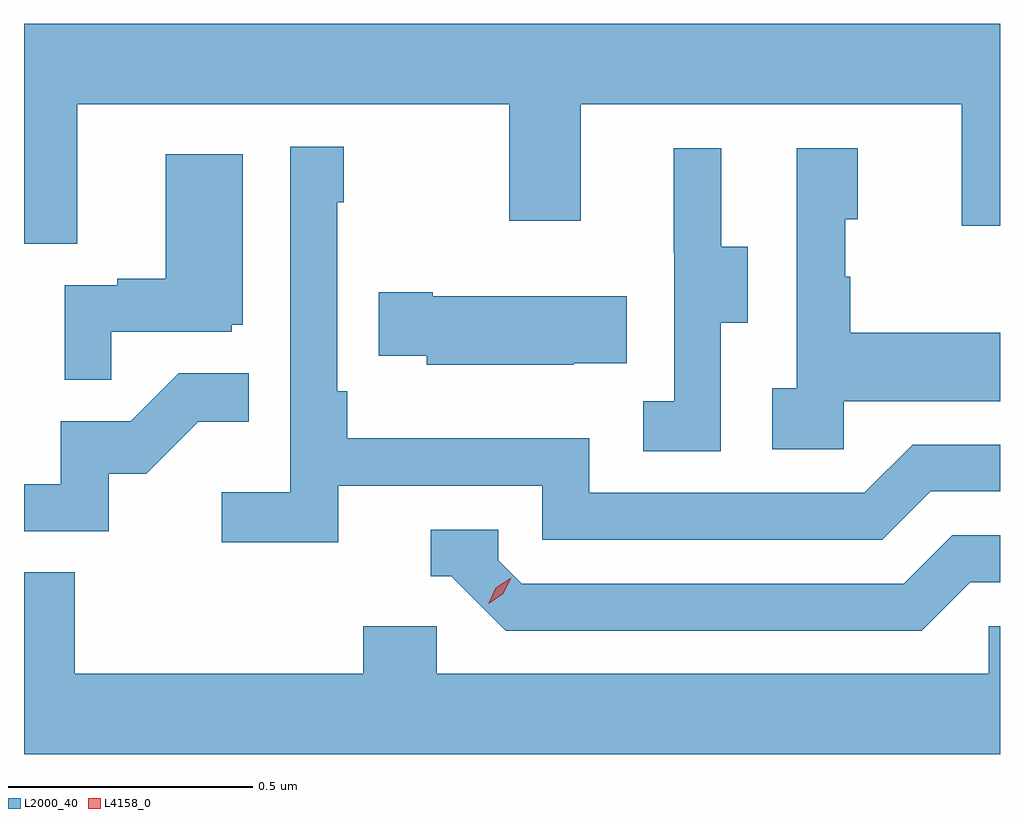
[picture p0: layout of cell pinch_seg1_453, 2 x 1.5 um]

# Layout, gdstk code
import gdstk
lib = gdstk.Library(unit=1e-6, precision=1e-09)
def P(c, l, *ps):  # polygons
    for p in ps: c.add(gdstk.Polygon(p, *l))
L2000_40 = (2000, 40)
L4158_0 = (4158, 0)

pinch_seg1_453 = lib.new_cell('pinch_seg1_453')
P(pinch_seg1_453, L2000_40, [(987.673,521.096),(988.558,521.096),(988.558,520.857),(988.705,520.857),(988.705,521.096),(989.486,521.096),(989.486,520.847),(989.564,520.847),(989.564,521.26),(987.564,521.26),(987.564,520.81),(987.673,520.81)],
  [(988.208,520.314),(988.626,520.314),(988.626,520.203),(989.323,520.203),(989.422,520.302),(989.564,520.302),(989.564,520.398),(989.385,520.398),(989.286,520.299),(988.722,520.299),(988.722,520.411),(988.226,520.411),(988.226,520.507),(988.206,520.507),(988.206,520.895),(988.219,520.895),(988.219,521.008),(988.11,521.008),(988.11,520.3),(987.969,520.3),(987.969,520.198),(988.208,520.198)],
  [(989.244,520.487),(989.564,520.487),(989.564,520.627),(989.257,520.627),(989.257,520.742),(989.247,520.742),(989.247,520.86),(989.272,520.86),(989.272,521.005),(989.148,521.005),(989.148,520.514),(989.097,520.514),(989.097,520.389),(989.244,520.389)],
  [(988.992,520.648),(989.047,520.648),(989.047,520.803),(988.993,520.803),(988.993,521.005),(988.895,521.005),(988.895,520.791),(988.896,520.791),(988.896,520.487),(988.833,520.487),(988.833,520.384),(988.992,520.384)],
  [(987.743,520.629),(987.99,520.629),(987.99,520.644),(988.012,520.644),(988.012,520.993),(987.854,520.993),(987.854,520.738),(987.755,520.738),(987.755,520.725),(987.648,520.725),(987.648,520.531),(987.743,520.531)],
  [(988.691,520.565),(988.799,520.565),(988.799,520.702),(988.402,520.702),(988.402,520.71),(988.291,520.71),(988.291,520.58),(988.389,520.58),(988.389,520.562),(988.691,520.562)],
  [(987.738,520.338),(987.814,520.338),(987.921,520.445),(988.025,520.445),(988.025,520.544),(987.881,520.544),(987.783,520.446),(987.639,520.446),(987.639,520.317),(987.564,520.317),(987.564,520.221),(987.738,520.221)],
  [(989.503,520.116),(989.564,520.116),(989.564,520.212),(989.466,520.212),(989.367,520.113),(988.584,520.113),(988.536,520.161),(988.536,520.224),(988.397,520.224),(988.397,520.128),(988.44,520.128),(988.551,520.017),(989.404,520.017)],
  [(989.564,520.026),(989.541,520.026),(989.541,519.928),(988.41,519.928),(988.41,520.026),(988.259,520.026),(988.259,519.928),(987.668,519.928),(987.668,520.136),(987.564,520.136),(987.564,519.764),(989.564,519.764)])
P(pinch_seg1_453, L4158_0, [(988.516,520.072),(988.516,520.073),(988.531,520.105),(988.562,520.125),(988.562,520.125),(988.562,520.125),(988.546,520.092),(988.516,520.072)])

lib.write_gds('pinch_seg1_453.gds')
